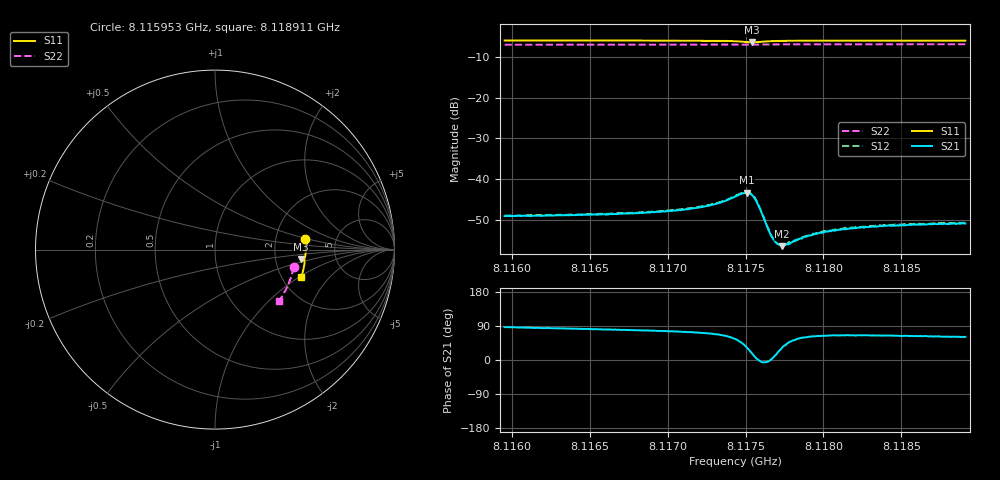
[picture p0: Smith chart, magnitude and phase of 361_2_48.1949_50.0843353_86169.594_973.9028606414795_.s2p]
#  HZ  S  RI  R  50.00
! Rohde & Schwarz Vector Network Analyzer
! Rohde-Schwarz,ZNB20-2Port,1311601062101988,3.16
! Created: UTC 3/20/2024, 11:52:12 AM
! freq[Hz]  re:S11  im:S11  re:S21  im:S21  re:S12  im:S12  re:S22  im:S22
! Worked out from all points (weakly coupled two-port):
!   401 points, 8.115953 GHz to 8.118911 GHz, reference 50 ohm
!   highest |S21| = -43.36 dB at 8.117506 GHz (marker M1); lowest = -56.5 dB at 8.117735 GHz (marker M2)
!   lowest |S11| = -6.3 dB at 8.117543 GHz (marker M3), VSWR 2.86, Z = 140 - j18.9 ohm
!   |S11| at or under -10 dB: nowhere
!   |S22| runs from -7.0 to -6.8 dB; largest |S21 - S12| = 0.00019
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8.1159526e9  0.5037 0.0616  0.000203 0.00348  0.000271 0.00352  0.4378 -0.098
8.1164482e9  0.5061 0.0244  0.000486 0.00357  0.000568 0.00365  0.4301 -0.1315
8.1169437e9  0.5057 -0.0136  0.000915 0.00383  0.000936 0.00388  0.4201 -0.1645
8.1170917e9  0.5046 -0.0255  0.00112 0.004  0.00116 0.0041  0.4165 -0.1741
8.1172544e9  0.5023 -0.0394  0.00156 0.0044  0.00163 0.00448  0.4124 -0.1849
8.1173432e9  0.4997 -0.0479  0.00212 0.00471  0.00221 0.00476  0.4101 -0.1907
8.1174319e9  0.4935 -0.0567  0.00343 0.00504  0.00354 0.00509  0.4072 -0.1964
8.1175059e9  0.4819 -0.0581  0.00564 0.00378  0.00578 0.00382  0.4047 -0.2008
8.1175429e9  0.4786 -0.052  0.00604 0.00179  0.00619 0.00175  0.4035 -0.2027
8.1175577e9  0.4794 -0.0488  0.00568 0.000927  0.00588 0.000907  0.4031 -0.2034
8.1175799e9  0.4827 -0.0458  0.00483 4.08e-05  0.00494 1.13e-05  0.4028 -0.2047
8.1176464e9  0.4933 -0.0482  0.00237 -0.000154  0.00243 -0.000186  0.4013 -0.209
8.117676e9  0.4959 -0.0515  0.00183 0.0002  0.00186 0.000208  0.4006 -0.2109
8.1177056e9  0.4973 -0.055  0.0015 0.000537  0.00151 0.000526  0.3998 -0.2129
8.1177352e9  0.4982 -0.0582  0.00125 0.000815  0.00135 0.00083  0.3988 -0.2149
8.1177722e9  0.4987 -0.0622  0.00111 0.0011  0.00117 0.00114  0.3978 -0.2172
8.1178387e9  0.499 -0.0688  0.000994 0.00151  0.00102 0.00149  0.3957 -0.2215
8.1179275e9  0.4984 -0.0768  0.00094 0.00182  0.000987 0.00181  0.3928 -0.2271
8.1180237e9  0.4976 -0.0846  0.000975 0.00202  0.000983 0.00208  0.3898 -0.233
8.1181494e9  0.4958 -0.0947  0.001 0.0022  0.00105 0.00226  0.3855 -0.2408
8.1184231e9  0.4914 -0.1153  0.00116 0.00241  0.00119 0.00245  0.3756 -0.2572
8.1189113e9  0.4813 -0.1507  0.00137 0.00247  0.00142 0.00254  0.3563 -0.2857
